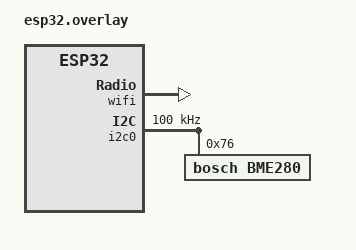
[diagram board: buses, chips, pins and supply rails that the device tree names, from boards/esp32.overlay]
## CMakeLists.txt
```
# SPDX-License-Identifier: Apache-2.0

cmake_minimum_required(VERSION 3.20.0)

find_package(Zephyr REQUIRED HINTS $ENV{ZEPHYR_BASE})
project(golioth_weather)

target_sources(app PRIVATE src/main.c)
```

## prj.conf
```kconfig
CONFIG_GOLIOTH_SAMPLES_COMMON=y

# Generic networking options
CONFIG_NETWORKING=y
CONFIG_NET_IPV4=y
CONFIG_NET_IPV6=n

# Logging
CONFIG_NET_LOG=y

# Network Shell
CONFIG_NET_SHELL=y
CONFIG_LOG_BACKEND_GOLIOTH=y
CONFIG_LOG_PROCESS_THREAD_STACK_SIZE=2048

# TLS configuration
CONFIG_MBEDTLS_ENABLE_HEAP=y
CONFIG_MBEDTLS_HEAP_SIZE=10240
CONFIG_MBEDTLS_SSL_MAX_CONTENT_LEN=2048

# Application
CONFIG_MAIN_STACK_SIZE=4096
CONFIG_EVENTFD=y

CONFIG_GOLIOTH=y
CONFIG_GOLIOTH_SYSTEM_CLIENT=y

CONFIG_MINIMAL_LIBC_MALLOC_ARENA_SIZE=1024

CONFIG_GOLIOTH_SAMPLE_SETTINGS_AUTOLOAD=y
CONFIG_GOLIOTH_SAMPLE_SETTINGS_SHELL=y
CONFIG_GOLIOTH_SETTINGS=y

CONFIG_SETTINGS=y
CONFIG_SETTINGS_RUNTIME=y

CONFIG_FLASH=y
CONFIG_FLASH_MAP=y
CONFIG_NVS=y
CONFIG_REBOOT=y

CONFIG_SHELL=y
CONFIG_I2C=y
CONFIG_SENSOR=y

#### To hardcode Golioth credentials, uncomment these lines:
#CONFIG_SHELL=n
#CONFIG_NET_SHELL=n
#CONFIG_GOLIOTH_SAMPLE_SETTINGS_SHELL=n
#CONFIG_GOLIOTH_SYSTEM_SETTINGS=n
#CONFIG_GOLIOTH_SYSTEM_SETTINGS=n
#CONFIG_GOLIOTH_SYSTEM_CLIENT_PSK_ID="my-psk-id"
#CONFIG_GOLIOTH_SYSTEM_CLIENT_PSK="my-psk"
```

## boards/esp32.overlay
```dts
&wifi {
	status = "okay";
};

/ {
    aliases {
        weather = &bme280;
    };
};

&i2c0 {
	status = "okay";
	clock-frequency = <I2C_BITRATE_STANDARD>;
	pinctrl-0 = <&i2c0_default>;

	bme280: bme280@76 {
		status = "okay";
		compatible = "bosch,bme280";
		reg = <0x76>;
	};
};

&pinctrl {
	i2c0_default: i2c0_default {
		group1 {
			pinmux = <I2C0_SDA_GPIO23>,
					 <I2C0_SCL_GPIO22>;
		};
	};
};
```

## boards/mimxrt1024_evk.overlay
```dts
/ {
    aliases {
        weather = &bme280;
    };
};

&enet {
	/* These pins are mapped wrong in the Zephyr tree */
	int-gpios = <&gpio1 22 GPIO_ACTIVE_HIGH>;
	reset-gpios = <&gpio1 4 GPIO_ACTIVE_HIGH>;
};

&lpi2c1 {
	status = "okay";
	pinctrl-0 = <&pinmux_lpi2c1>;
	pinctrl-names = "default";

	bme280: bme280@76 {
		status = "okay";
		compatible = "bosch,bme280";
		reg = <0x76>;
	};
};

&lpi2c4 {
	fxos8700: fxos8700@1f {
		/* This sensor is not populated on the evaluation kit */
		status = "disabled";
	};
};
```

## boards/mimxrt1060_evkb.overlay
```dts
/ {
    aliases {
        weather = &bme280;
    };
};

&lpi2c1 {
	status = "okay";

	bme280: bme280@76 {
		status = "okay";
		compatible = "bosch,bme280";
		reg = <0x76>;
	};
};
```

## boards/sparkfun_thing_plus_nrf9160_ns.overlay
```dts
/ {
    aliases {
        weather = &dps310;
    };
};

&i2c1 {
	status = "okay";
	clock-frequency = <I2C_BITRATE_STANDARD>;
	pinctrl-0 = <&i2c1_default>;

	dps310: dps310@77 {
		status = "okay";
		compatible = "infineon,dps310";
		reg = <0x77>;
	};
};

&pinctrl {
	i2c1_default: i2c1_default {
		group1 {
			psels = <NRF_PSEL(TWIM_SDA, 0, 26)>,
				<NRF_PSEL(TWIM_SCL, 0, 27)>;
		};
	};
};
```

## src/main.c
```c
/*
 * Copyright (c) 2023 Golioth, Inc.
 *
 * SPDX-License-Identifier: Apache-2.0
 */

#include <zephyr/logging/log.h>
LOG_MODULE_REGISTER(golioth_temperature, LOG_LEVEL_DBG);

#include <net/golioth/system_client.h>
#include <net/golioth/settings.h>
#include <samples/common/net_connect.h>
#include <zephyr/net/coap.h>

#include <zephyr/drivers/sensor.h>
#include <stdlib.h>

#define SENSOR_JSON_FMT "{\"tem\":%d.%d,\"pre\":%d.%d,\"hum\":%d.%d}"

static struct golioth_client *client = GOLIOTH_SYSTEM_CLIENT_GET();
static K_SEM_DEFINE(connected, 0, 1);

static k_tid_t _system_thread = 0;
static int _loop_delay_s = 5;

static void golioth_on_connect(struct golioth_client *client)
{
	k_sem_give(&connected);
	golioth_settings_observe(client);
}

static int async_handler(struct golioth_req_rsp *rsp) {
	if (rsp->err) {
		LOG_WRN("Failed to push temperature: %d", rsp->err);
		return rsp->err;
	}

	return 0;
}

void wake_system_thread(void) {
	k_wakeup(_system_thread);
}

enum golioth_settings_status on_setting(
		const char *key,
		const struct golioth_settings_value *value)
{

	LOG_DBG("Received setting: key = %s, type = %d", key, value->type);
	if (strcmp(key, "LOOP_DELAY_S") == 0) {
		/* This setting is expected to be numeric, return an error if it's not */
		if (value->type != GOLIOTH_SETTINGS_VALUE_TYPE_INT64) {
			LOG_DBG("Received LOOP_DELAY_S is not an integer type.");
			return GOLIOTH_SETTINGS_VALUE_FORMAT_NOT_VALID;
		}

		/* Limit to 12 hour max delay: [1, 43200] */
		if (value->i64 < 1 || value->i64 > 43200) {
			LOG_DBG("Received LOOP_DELAY_S setting is outside allowed range.");
			return GOLIOTH_SETTINGS_VALUE_OUTSIDE_RANGE;
		}

		/* Only update if value has changed */
		if (_loop_delay_s == (int32_t)value->i64) {
			LOG_DBG("Received LOOP_DELAY_S already matches local value.");
		} else {
			_loop_delay_s = (int32_t)value->i64;
			LOG_INF("Set loop delay to %d seconds", _loop_delay_s);

			wake_system_thread();
		}
		return GOLIOTH_SETTINGS_SUCCESS;
	}

	/* If the setting is not recognized, we should return an error */
	return GOLIOTH_SETTINGS_KEY_NOT_RECOGNIZED;
}

void main(void)
{
	int err;
	struct sensor_value tem;
	struct sensor_value pre;
	struct sensor_value hum;
	char sbuf[128];

	LOG_INF("Started weather demo");

	/* Get system thread id so loop delay change event can wake main */
	_system_thread = k_current_get();

	if (IS_ENABLED(CONFIG_GOLIOTH_SAMPLES_COMMON)) {
		net_connect();
	}

	err = golioth_settings_register_callback(client, on_setting);
		if (err) {
			LOG_ERR("Failed to register settings callback: %d", err);
		}

	client->on_connect = golioth_on_connect;
	golioth_system_client_start();

	k_sem_take(&connected, K_FOREVER);

	const struct device *weather_dev = DEVICE_DT_GET(DT_ALIAS(weather));

	if (weather_dev == NULL) {
		LOG_ERR("Error: no sensor found.");
	}

	if (!device_is_ready(weather_dev)) {
		LOG_ERR("Error: Sensor %s is not ready;"
			"check the driver initialization logs for errors.",
			weather_dev->name);
	} else {
		LOG_INF("Found sensor: %s", weather_dev->name);
	}

	int counter = 0;

	while (true) {
		sensor_sample_fetch(weather_dev);
		sensor_channel_get(weather_dev, SENSOR_CHAN_AMBIENT_TEMP, &tem);
		sensor_channel_get(weather_dev, SENSOR_CHAN_PRESS, &pre);
		sensor_channel_get(weather_dev, SENSOR_CHAN_HUMIDITY, &hum);

		snprintk(sbuf, sizeof(sbuf),
			 SENSOR_JSON_FMT,
			 tem.val1, abs(tem.val2),
			 pre.val1, abs(pre.val2),
			 hum.val1, abs(hum.val2)
			 );

		LOG_INF("Sending sensor reading #%d", counter);
		++counter;

		err = golioth_stream_push_cb(client, "weather",
					     GOLIOTH_CONTENT_FORMAT_APP_JSON,
					     sbuf, strlen(sbuf),
					     async_handler, NULL);

		if (err) {
			LOG_WRN("Failed to push weather: %d", err);
			return;
		}

		k_sleep(K_SECONDS(_loop_delay_s));
	}
}
```
